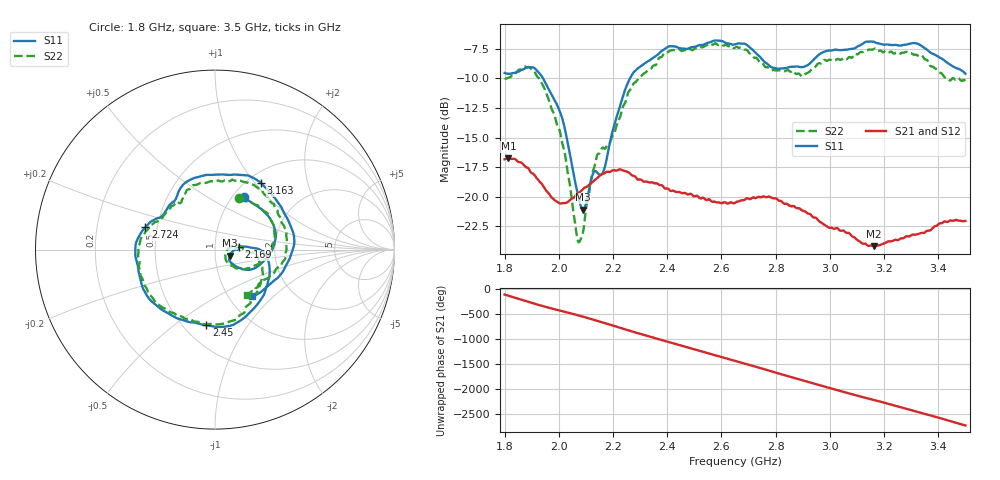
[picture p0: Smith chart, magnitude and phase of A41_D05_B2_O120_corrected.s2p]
! Created with skrf 1.9.0 (http://scikit-rf.org).
# Hz S RI R 50.0
!freq ReS11 ImS11 ReS21 ImS21 ReS12 ImS12 ReS22 ImS22
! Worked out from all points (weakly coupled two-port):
!   1601 points, 1.8 GHz to 3.5 GHz, reference 50 ohm
!   highest |S21| = -16.77 dB at 1.814 GHz (marker M1); lowest = -24.2 dB at 3.163 GHz (marker M2)
!   lowest |S11| = -21.1 dB at 2.09 GHz (marker M3), VSWR 1.19, Z = 58.7 - j4.01 ohm
!   |S11| at or under -10 dB: 1.942 GHz to 2.262 GHz (320.4 MHz wide, 15.2 % of centre)
!   |S22| runs from -23.9 to -7.0 dB; largest |S21 - S12| = 0.0023
!   S11 on the Smith chart (normalised r, x): 1.8 GHz: 1.12, +0.74; 2.169 GHz: 1.30, +0.04; 2.45 GHz: 0.64, -0.66; 2.724 GHz: 0.43, +0.13; 3.163 GHz: 1.15, +1.07; 3.5 GHz: 1.28, -0.74
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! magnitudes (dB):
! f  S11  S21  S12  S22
! 1.8 GHz  -9.5  -16.8  -16.8  -10.0
! 1.814 GHz  -9.6  -16.8  -16.8  -9.9
! 1.883 GHz  -9.1  -17.5  -17.5  -9.1
! 1.942 GHz  -10.0  -19.1  -19.1  -10.6
! 2.013 GHz  -13.4  -20.6  -20.6  -15.5
! 2.067 GHz  -19.5  -19.8  -19.8  -23.4
! 2.084 GHz  -20.9  -19.5  -19.4  -23.5
! 2.09 GHz  -21.1  -19.3  -19.4  -22.9
! 2.129 GHz  -17.9  -18.7  -18.7  -17.6
! 2.169 GHz  -17.6  -18.0  -18.0  -16.0
! 2.204 GHz  -14.0  -17.8  -17.8  -14.6
! 2.259 GHz  -10.2  -18.0  -18.0  -11.1
! 2.367 GHz  -7.9  -19.0  -18.9  -8.3
! 2.45 GHz  -7.5  -19.7  -19.6  -7.6
! 2.65 GHz  -7.1  -20.5  -20.5  -7.4
! 2.724 GHz  -7.8  -20.1  -20.1  -8.3
! 2.802 GHz  -9.1  -20.2  -20.2  -9.3
! 2.934 GHz  -8.6  -21.6  -21.6  -9.2
! 3.163 GHz  -6.9  -24.2  -24.1  -7.5
! 3.217 GHz  -7.1  -23.8  -23.7  -7.8
! 3.324 GHz  -7.1  -23.2  -23.1  -8.1
! 3.5 GHz  -9.6  -22.1  -22.0  -10.2
